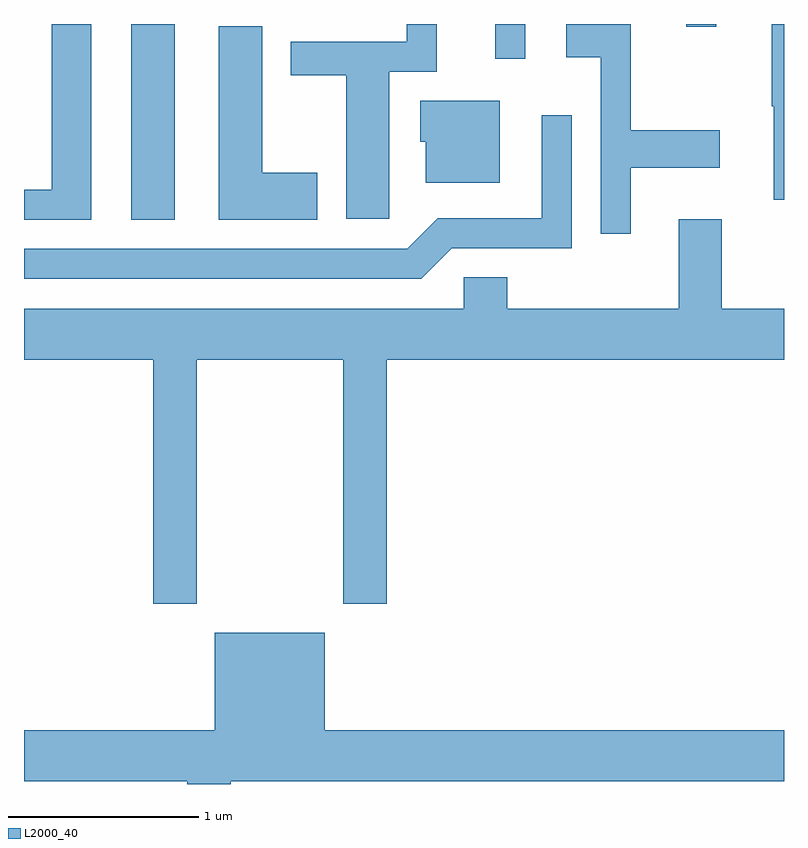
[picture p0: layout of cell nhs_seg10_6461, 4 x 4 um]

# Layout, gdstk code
import gdstk
lib = gdstk.Library(unit=1e-6, precision=1e-09)
def R(c, l, rs):  # rectangles x0, y0, x1, y1
    for r in rs: c.add(gdstk.rectangle(r[:2], r[2:], *l))
def P(c, l, *ps):  # polygons
    for p in ps: c.add(gdstk.Polygon(p, *l))
L2000_40 = (2000, 40)

nhs_seg10_6461 = lib.new_cell('nhs_seg10_6461')
R(nhs_seg10_6461, L2000_40, [(376.176,2163.491,376.404,2164.522), (378.091,2164.338,378.249,2164.522), (379.096,2164.508,379.254,2164.522)])
P(nhs_seg10_6461, L2000_40, [(375.964,2164.522),(375.756,2164.522),(375.756,2163.649),(375.611,2163.649),(375.611,2163.491),(375.964,2163.491)],
  [(377.534,2164.271),(377.784,2164.271),(377.784,2164.522),(377.626,2164.522),(377.626,2164.429),(377.016,2164.429),(377.016,2164.251),(377.306,2164.251),(377.306,2163.496),(377.534,2163.496)],
  [(379.611,2164.522),(379.546,2164.522),(379.546,2164.09),(379.556,2164.09),(379.556,2163.596),(379.611,2163.596)],
  [(378.804,2163.766),(379.274,2163.766),(379.274,2163.964),(378.804,2163.964),(378.804,2164.522),(378.466,2164.522),(378.466,2164.346),(378.646,2164.346),(378.646,2163.418),(378.804,2163.418)],
  [(377.154,2163.739),(376.864,2163.739),(376.864,2164.509),(376.636,2164.509),(376.636,2163.491),(377.154,2163.491)],
  [(378.114,2164.119),(377.696,2164.119),(377.696,2163.901),(377.726,2163.901),(377.726,2163.686),(378.114,2163.686)],
  [(377.862,2163.341),(378.494,2163.341),(378.494,2164.043),(378.336,2164.043),(378.336,2163.499),(377.789,2163.499),(377.629,2163.339),(375.611,2163.339),(375.611,2163.181),(377.702,2163.181)],
  [(376.519,2162.756),(377.291,2162.756),(377.291,2161.471),(377.519,2161.471),(377.519,2162.756),(379.611,2162.756),(379.611,2163.024),(379.284,2163.024),(379.284,2163.494),(379.056,2163.494),(379.056,2163.024),(378.154,2163.024),(378.154,2163.189),(377.926,2163.189),(377.926,2163.024),(375.611,2163.024),(375.611,2162.756),(376.291,2162.756),(376.291,2161.471),(376.519,2161.471)],
  [(376.699,2160.536),(379.611,2160.536),(379.611,2160.804),(377.194,2160.804),(377.194,2161.319),(376.616,2161.319),(376.616,2160.804),(375.611,2160.804),(375.611,2160.536),(376.471,2160.536),(376.471,2160.522),(376.699,2160.522)])

lib.write_gds('nhs_seg10_6461.gds')
